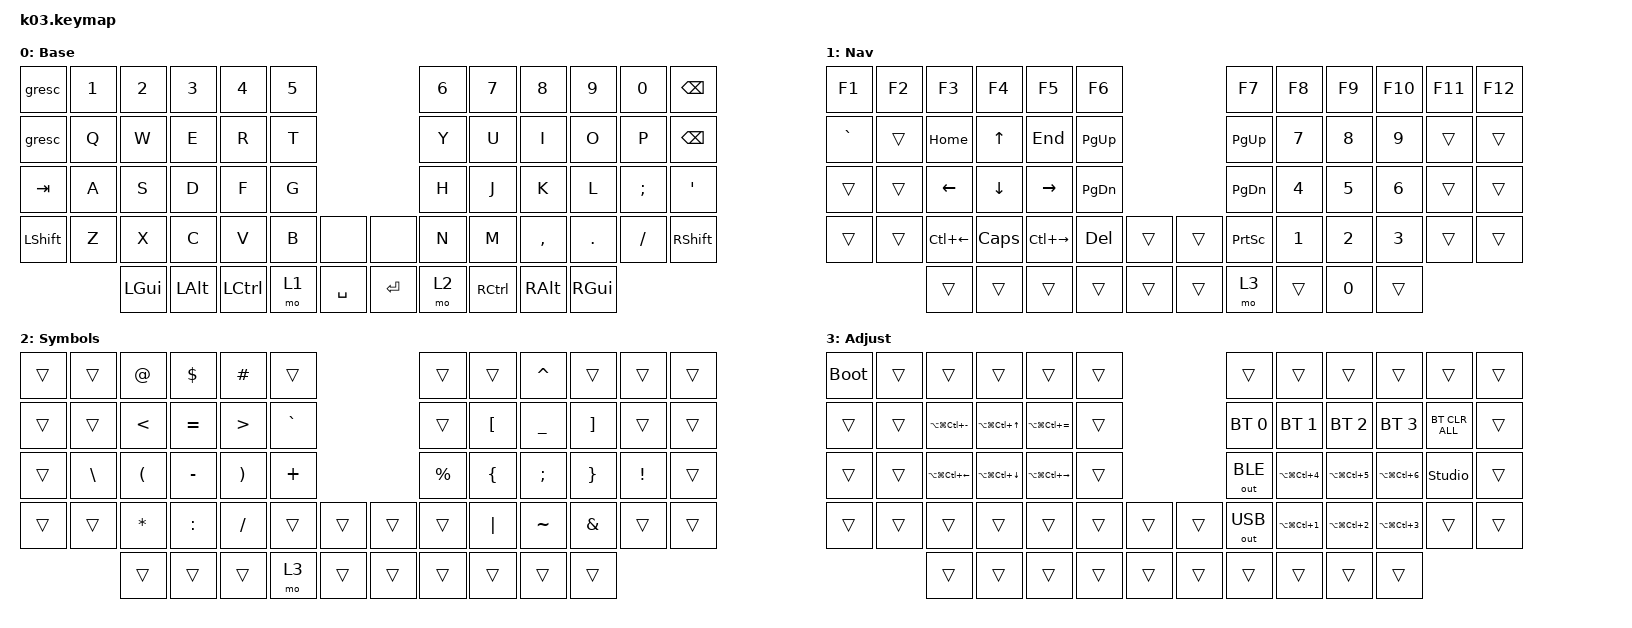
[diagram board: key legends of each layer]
#include "keys_ru.h"
#include <behaviors.dtsi>
#include <dt-bindings/zmk/bt.h>
#include <dt-bindings/zmk/keys.h>
#include <dt-bindings/zmk/outputs.h>

/ {
    behaviors {
        enc_vol: enc_vol {
            compatible = "zmk,behavior-sensor-rotate";
            label = "ENC_VOL";
            #sensor-binding-cells = <0>;
            bindings = <&kp C_VOL_UP>, <&kp C_VOL_DN>;
        };
    };

    keymap {
        compatible = "zmk,keymap";

        base {
            bindings = <
&gresc     &kp N1  &kp N2    &kp N3    &kp N4     &kp N5                          &kp N6  &kp N7     &kp N8     &kp N9    &kp N0    &kp BSPC
&gresc     &kp Q   &kp W     &kp E     &kp R      &kp T                           &kp Y   &kp U      &kp I      &kp O     &kp P     &kp BACKSPACE
&kp TAB    &kp A   &kp S     &kp D     &kp F      &kp G                           &kp H   &kp J      &kp K      &kp L     &kp SEMI  &kp SQT
&kp LSHFT  &kp Z   &kp X     &kp C     &kp V      &kp B   &none           &none    &kp N   &kp M      &kp COMMA  &kp DOT   &kp FSLH  &kp RSHFT
                   &kp LGUI  &kp LALT  &kp LCTRL  &mo 1   &kp SPACE    &kp ENTER  &mo 2   &kp RCTRL  &kp RALT   &kp RGUI
            >;

            display-name = "Base";
        };

        nav {
            bindings = <
&kp F1  &kp F2  &kp F3        &kp F4    &kp F5         &kp F6                           &kp F7           &kp F8  &kp F9  &kp F10  &kp F11  &kp F12
&kp GRAVE  &trans  &kp HOME      &kp UP    &kp END        &kp PAGE_UP                      &kp PG_UP        &kp N7  &kp N8  &kp N9   &trans   &trans
&trans  &trans  &kp LEFT      &kp DOWN  &kp RIGHT      &kp PAGE_DOWN                    &kp PG_DN        &kp N4  &kp N5  &kp N6   &trans   &trans
&trans  &trans  &kp LC(LEFT)  &kp CAPS  &kp LC(RIGHT)  &kp DEL        &trans    &trans  &kp PRINTSCREEN  &kp N1  &kp N2  &kp N3   &trans   &trans
                &trans        &trans    &trans         &trans         &trans    &trans  &mo 3            &trans  &kp N0  &trans
            >;

            display-name = "Nav";
        };

        sym {
            bindings = <
&trans  &trans    &kp AT    &kp DLLR   &kp HASH  &trans                       &trans     &trans    &kp CARET  &trans    &trans    &trans
&trans  &trans    &kp LT    &kp EQUAL  &kp GT    &kp GRAVE                    &trans     &kp LBKT  &kp UNDER  &kp RBKT  &trans    &trans
&trans  &kp BSLH  &kp LPAR  &kp MINUS  &kp RPAR  &kp PLUS                     &kp PRCNT  &kp LBRC  &kp SEMI   &kp RBRC  &kp EXCL  &trans
&trans  &trans    &kp STAR  &kp COLON  &kp FSLH  &trans     &trans    &trans  &trans     &kp PIPE  &kp TILDE  &kp AMPS  &trans    &trans
                  &trans    &trans     &trans    &mo 3      &trans    &trans  &trans     &trans    &trans     &trans
            >;

            display-name = "Symbols";
        };

        adj {
            bindings = <
&bootloader  &trans  &trans                      &trans                &trans                 &trans                    &trans        &trans                    &trans                    &trans                    &trans          &trans
&trans       &trans  &kp LA(LG(LC(MINUS)))       &kp LA(LG(LC(UP)))    &kp LA(LG(LC(EQUAL)))  &trans                    &bt BT_SEL 0  &bt BT_SEL 1              &bt BT_SEL 2              &bt BT_SEL 3              &bt BT_CLR_ALL  &trans
&trans       &trans  &kp LA(LG(LC(LEFT_ARROW)))  &kp LA(LG(LC(DOWN)))  &kp LA(LG(LC(RIGHT)))  &trans                    &out OUT_BLE  &kp LA(LG(LC(NUMBER_4)))  &kp LA(LG(LC(NUMBER_5)))  &kp LA(LG(LC(NUMBER_6)))  &studio_unlock  &trans
&trans       &trans  &trans                      &trans                &trans                 &trans  &trans    &trans  &out OUT_USB  &kp LA(LG(LC(NUMBER_1)))  &kp LA(LG(LC(NUMBER_2)))  &kp LA(LG(LC(NUMBER_3)))  &trans          &trans
                     &trans                      &trans                &trans                 &trans  &trans    &trans  &trans        &trans                    &trans                    &trans
            >;

            display-name = "Adjust";
        };
    };
};
